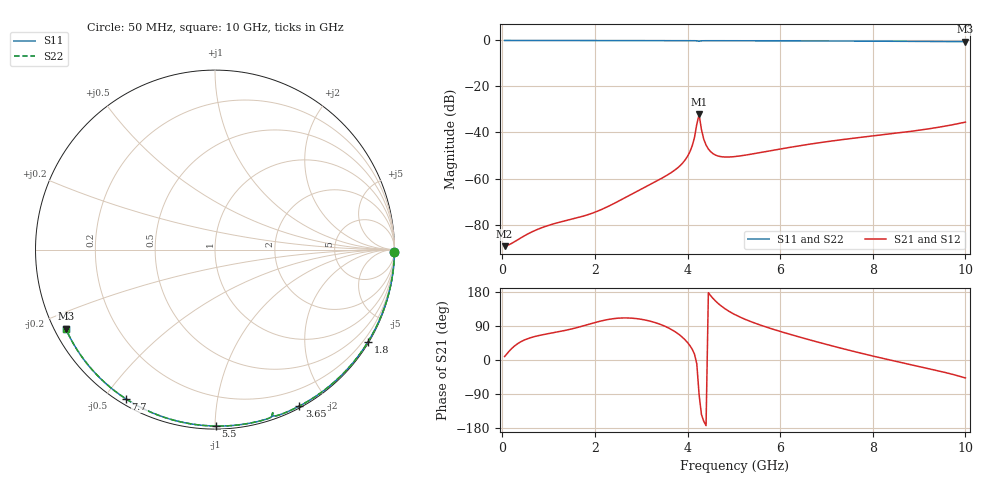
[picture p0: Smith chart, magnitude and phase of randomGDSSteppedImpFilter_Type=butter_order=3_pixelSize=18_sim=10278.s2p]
! freq	dB(S11)	phase(S11)	dB(S12)	phase(S12)
!  dB(S21)	phase(S21)	dB(S22)	phase(S22)
!S-par simulation data
#  GHz  S  DB  R 50
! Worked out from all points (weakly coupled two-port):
!   200 points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, 50 MHz to 10 GHz, reference 50 ohm
!   highest |S21| = -32.17 dB at 4.25 GHz (marker M1); lowest = -89.4 dB at 50 MHz (marker M2)
!   lowest |S11| = -0.5 dB at 10 GHz (marker M3), VSWR 32.96, Z = 1.61 - j12.4 ohm
!   |S11| at or under -10 dB: nowhere
!   |S22| runs from -0.5 to 0.0 dB; largest |S21 - S12| = 0
!   S11 on the Smith chart (normalised r, x): 50 MHz: open; 1.8 GHz: 0.03, -3.58; 3.65 GHz: 0.02, -1.67; 5.5 GHz: 0.02, -1.00; 7.7 GHz: 0.02, -0.57; 10 GHz: 0.03, -0.25
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0.05  -0.00 -0.9  -89.40 9.1  -89.40 9.1  -0.00 -0.9
1.05  -0.02 -18.4  -80.04 70.8  -80.04 70.8  -0.02 -18.4
1.75  -0.04 -30.4  -76.33 90.1  -76.33 90.1  -0.04 -30.4
1.8  -0.04 -31.2  -76.03 91.8  -76.03 91.8  -0.04 -31.2
2.3  -0.05 -39.6  -71.98 107.2  -71.98 107.2  -0.05 -39.6
3.4  -0.08 -57.7  -60.36 94.6  -60.36 94.6  -0.08 -57.7
3.65  -0.08 -61.7  -57.39 80.6  -57.39 80.6  -0.08 -61.7
3.9  -0.09 -65.7  -53.14 58.7  -53.14 58.7  -0.09 -65.7
4.05  -0.10 -68.1  -48.42 38.2  -48.42 38.2  -0.10 -68.1
4.15  -0.12 -69.9  -42.20 15.6  -42.20 15.6  -0.12 -69.9
4.2  -0.18 -71.0  -36.37 -10.0  -36.37 -10.0  -0.18 -71.0
4.25  -0.32 -70.5  -32.17 -91.8  -32.17 -91.8  -0.32 -70.5
4.3  -0.15 -71.2  -38.67 -143.4  -38.67 -143.4  -0.15 -71.2
4.35  -0.12 -72.1  -42.88 -161.6  -42.88 -161.6  -0.12 -72.1
4.5  -0.11 -74.7  -48.35 169.7  -48.35 169.7  -0.11 -74.7
4.7  -0.12 -77.8  -50.42 145.2  -50.42 145.2  -0.12 -77.8
5.05  -0.13 -83.1  -50.39 118.2  -50.39 118.2  -0.13 -83.1
5.5  -0.15 -89.7  -48.97 95.3  -48.97 95.3  -0.15 -89.7
6.7  -0.21 -106.9  -44.88 51.0  -44.88 51.0  -0.21 -106.9
7.7  -0.28 -120.8  -42.20 19.3  -42.20 19.3  -0.28 -120.8
8.35  -0.33 -129.7  -40.67 0.6  -40.67 0.6  -0.33 -129.7
10  -0.53 -152.0  -35.49 -47.4  -35.49 -47.4  -0.53 -152.0
